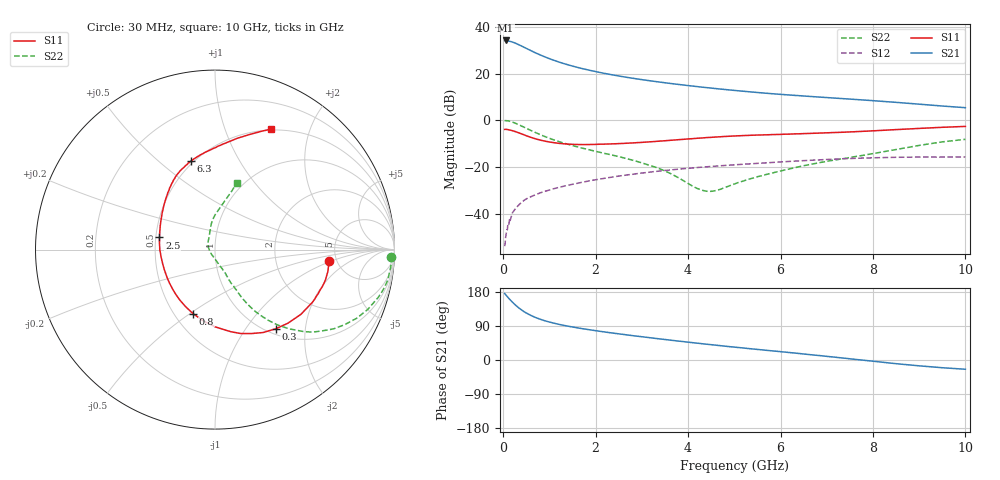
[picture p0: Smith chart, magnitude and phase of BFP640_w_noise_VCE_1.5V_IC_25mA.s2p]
! Infineon Technologies  Discrete & RF Semiconductors
! BFP640
! VCE =  1.5 V,  IC =  25 mA
! Common Emitter S-Parameters:  Apr 2013
# GHz  S  MA  R  50
!  f  S11  S21  S12  S22
! GHz  MAG  ANG  MAG  ANG  MAG  ANG  MAG  ANG
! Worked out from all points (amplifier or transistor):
!   99 points, 30 MHz to 10 GHz, reference 50 ohm
!   highest |S21| = 34.3 dB at 50 MHz (marker M1)
!   |S21| within 3 dB of that: start of sweep to 458.6 MHz
!   unconditionally stable (mu >= 1): 2.445 GHz to end of sweep
!   at 350 MHz: K = 0.33, MSG = 34.2 dB, |S12| = -36.0 dB
!   at 3.5 GHz: K = 1.04, MAG = 17.5 dB, |S12| = -21.5 dB
!   at 10 GHz: K = 1.07, MAG = 9.0 dB, |S12| = -15.7 dB
!   lowest NFmin = 0.95 dB at 450 MHz
!   S11 on the Smith chart (normalised r, x): 30 MHz: 4.33, -0.91; 300 MHz: 1.09, -1.39; 800 MHz: 0.62, -0.51; 2.5 GHz: 0.52, +0.08; 6.3 GHz: 0.48, +0.64; 10 GHz: 0.49, +1.45
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0.03  0.6381 -5.6  50.94 175.6  0.002 97.6  0.9805 -2.3
0.05  0.6399 -9.9  51.59 172.9  0.003 60.6  0.9843 -5.1
0.08  0.6384 -15.2  51.28 168.4  0.0045 84.9  0.9791 -8.4
0.15  0.6167 -28.5  49.33 158.8  0.0071 76.6  0.9478 -16.3
0.2  0.5993 -37.0  47.57 152.5  0.0104 76.5  0.9141 -21.4
0.25  0.5777 -45.1  45.7 146.6  0.0122 72.8  0.8767 -25.9
0.3  0.5558 -52.6  43.48 141.2  0.014 71.7  0.8344 -30.1
0.4  0.5097 -66.6  39.04 131.8  0.0175 67.0  0.7503 -37.1
0.5  0.4663 -79.0  34.86 124.0  0.0207 64.3  0.674 -42.7
0.6  0.4305 -89.9  31.15 117.5  0.023 62.1  0.6046 -46.9
0.7  0.4006 -99.9  27.95 112.1  0.0254 60.4  0.5462 -50.3
0.8  0.3774 -108.9  25.23 107.5  0.0278 59.3  0.4934 -53.0
1  0.343 -124.7  20.98 100.1  0.032 58.0  0.4116 -56.9
1.2  0.3214 -138.0  17.85 94.2  0.0363 57.1  0.3512 -59.3
1.7  0.3019 -164.2  12.94 82.9  0.0468 55.1  0.2546 -62.1
2.5  0.3165 167.7  8.928 69.0  0.0637 50.2  0.1666 -65.6
3.4  0.3591 145.0  6.579 55.5  0.082 43.2  0.09 -74.8
5.1  0.4662 117.3  4.287 32.8  0.1127 28.7  0.0469 145.9
6.3  0.5112 105.3  3.429 18.4  0.1331 18.5  0.0958 108.0
6.7  0.5267 100.8  3.221 13.4  0.1399 14.7  0.1163 102.9
8.5  0.6323 78.7  2.427 -9.7  0.161 -3.6  0.2364 83.0
10  0.7401 65.1  1.865 -24.4  0.1638 -15.4  0.3913 72.1
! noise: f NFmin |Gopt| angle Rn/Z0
0.45  0.95  0.16  -171  0.01
0.9  0.96  0.18  -158  0.02
1.5  0.98  0.19  -144  0.04
1.9  1  0.21  -136  0.05
2.4  1.03  0.24  -121  0.06
3.5  1.15  0.26  -104  0.1
5.5  1.35  0.29  -94  0.17
10  1.83  0.59  -53  0.52
